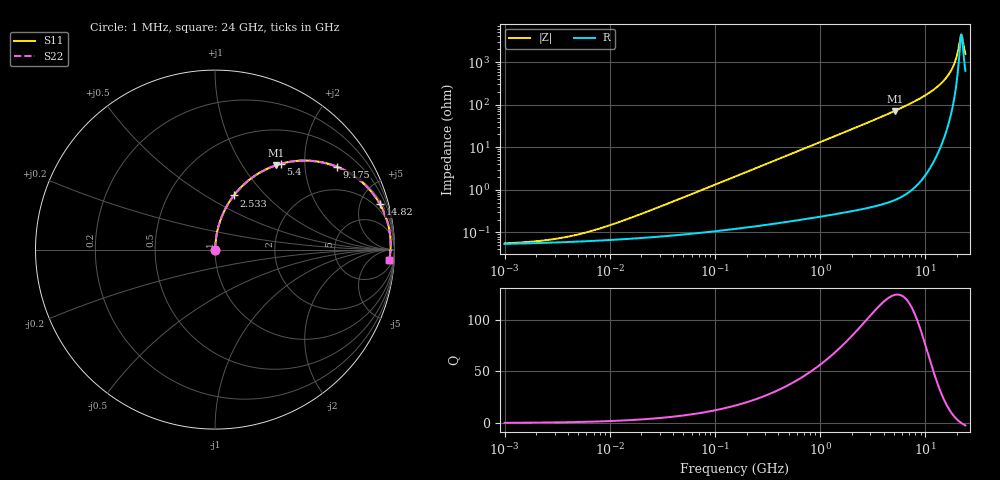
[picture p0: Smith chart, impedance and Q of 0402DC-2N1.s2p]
# MHz  S  MA  R  50
!Freq  MagS11  AngS11  MagS21  AngS21  MagS12  AngS12  MagS22  AngS22
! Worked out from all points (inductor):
!   801 points, 1 MHz to 24 GHz, reference 50 ohm
!   read as one part in series: L = 2.1 nH near 16.47 MHz
!   highest Q = 124 at 5.135 GHz (marker M1), where L = 2.22 nH
!   self-resonance near 21.92 GHz
!   S11 on the Smith chart (normalised r, x): 1 MHz: 1.00, +0.00; 2.533 GHz: 1.01, +0.68; 5.4 GHz: 1.01, +1.52; 9.175 GHz: 1.03, +2.93; 14.82 GHz: 1.30, +7.16; 24 GHz: 13, -28
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1  0.0005543 13.8  0.9995 -0.0  0.9995 -0.0  0.0005543 13.8
2.544368  0.0006643 30.3  0.9994 -0.0  0.9994 -0.0  0.0006643 30.3
5.42536  0.0009443 49.2  0.9994 -0.0  0.9994 -0.0  0.0009443 49.2
10.99902  0.001599 65.0  0.9993 -0.1  0.9993 -0.1  0.001599 65.0
29.0654  0.003914 78.0  0.9992 -0.2  0.9992 -0.2  0.003914 78.0
155.7127  0.02055 85.4  0.9986 -1.2  0.9986 -1.2  0.02055 85.4
834.2029  0.1094 82.6  0.9918 -6.3  0.9918 -6.3  0.1094 82.6
2532.696  0.3198 70.8  0.9441 -18.6  0.9441 -18.6  0.3198 70.8
4469.094  0.522 58.1  0.8486 -31.5  0.8486 -31.5  0.522 58.1
5134.621  0.5803 54.1  0.8097 -35.5  0.8097 -35.5  0.5803 54.1
5400.47  0.602 52.5  0.7937 -37.0  0.7937 -37.0  0.602 52.5
7128.685  0.7214 43.3  0.6862 -46.2  0.6862 -46.2  0.7214 43.3
9175.413  0.8218 34.1  0.5605 -55.3  0.5605 -55.3  0.8218 34.1
11959.76  0.9065 23.8  0.4044 -65.0  0.4044 -65.0  0.9065 23.8
14821.64  0.9529 15.4  0.266 -72.2  0.266 -72.2  0.9529 15.4
16815.3  0.9697 10.5  0.182 -75.2  0.182 -75.2  0.9697 10.5
18368.35  0.9766 7.0  0.123 -75.6  0.123 -75.6  0.9766 7.0
19564.75  0.979 4.5  0.08126 -72.8  0.08126 -72.8  0.979 4.5
21103.72  0.9792 1.6  0.03479 -52.5  0.03479 -52.5  0.9792 1.6
21643.16  0.9786 0.6  0.02409 -27.1  0.02409 -27.1  0.9786 0.6
22478.28  0.9771 -0.8  0.02686 31.0  0.02686 31.0  0.9771 -0.8
24000  0.9727 -3.3  0.06329 62.8  0.06329 62.8  0.9727 -3.3
